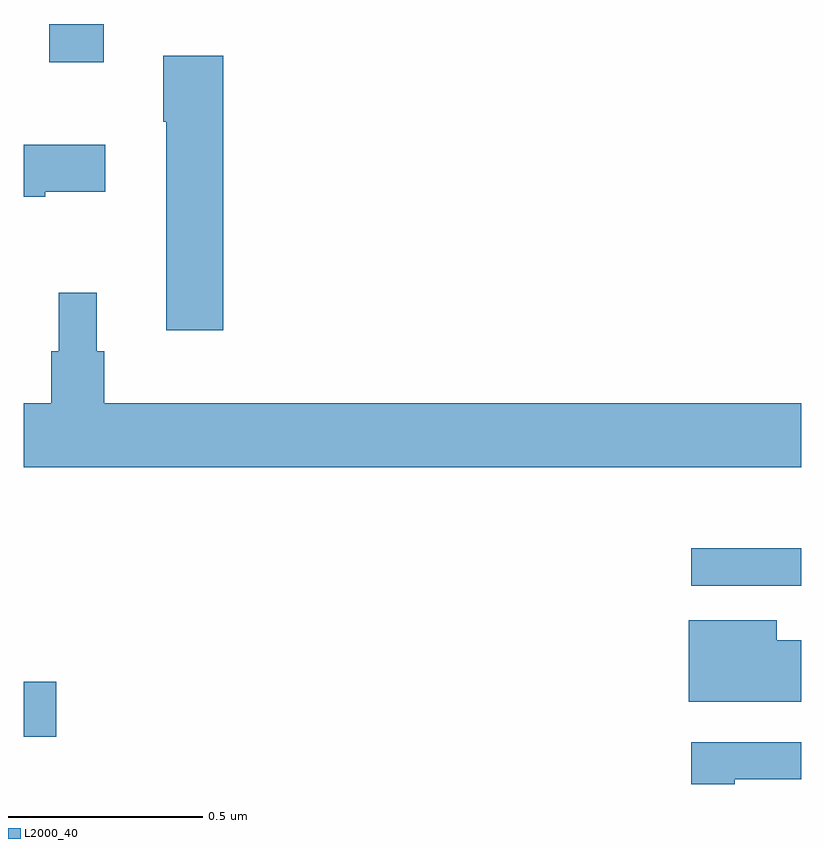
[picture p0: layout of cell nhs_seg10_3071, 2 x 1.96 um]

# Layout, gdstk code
import gdstk
lib = gdstk.Library(unit=1e-6, precision=1e-09)
def R(c, l, rs):  # rectangles x0, y0, x1, y1
    for r in rs: c.add(gdstk.rectangle(r[:2], r[2:], *l))
def P(c, l, *ps):  # polygons
    for p in ps: c.add(gdstk.Polygon(p, *l))
L2000_40 = (2000, 40)

nhs_seg10_3071 = lib.new_cell('nhs_seg10_3071')
R(nhs_seg10_3071, L2000_40, [(149,1255.666,149.083,1255.808), (150.717,1256.055,151,1256.151), (149.066,1257.402,149.206,1257.5)])
P(nhs_seg10_3071, L2000_40, [(149.513,1257.418),(149.359,1257.418),(149.359,1257.248),(149.366,1257.248),(149.366,1256.712),(149.513,1256.712)],
  [(149.055,1257.068),(149.209,1257.068),(149.209,1257.19),(149,1257.19),(149,1257.056),(149.055,1257.056)],
  [(151,1256.524),(149.207,1256.524),(149.207,1256.658),(149.188,1256.658),(149.188,1256.809),(149.09,1256.809),(149.09,1256.658),(149.071,1256.658),(149.071,1256.524),(149,1256.524),(149,1256.36),(151,1256.36)],
  [(151,1255.915),(150.937,1255.915),(150.937,1255.966),(150.71,1255.966),(150.71,1255.757),(151,1255.757)],
  [(150.829,1255.557),(151,1255.557),(151,1255.653),(150.717,1255.653),(150.717,1255.545),(150.829,1255.545)])

lib.write_gds('nhs_seg10_3071.gds')
